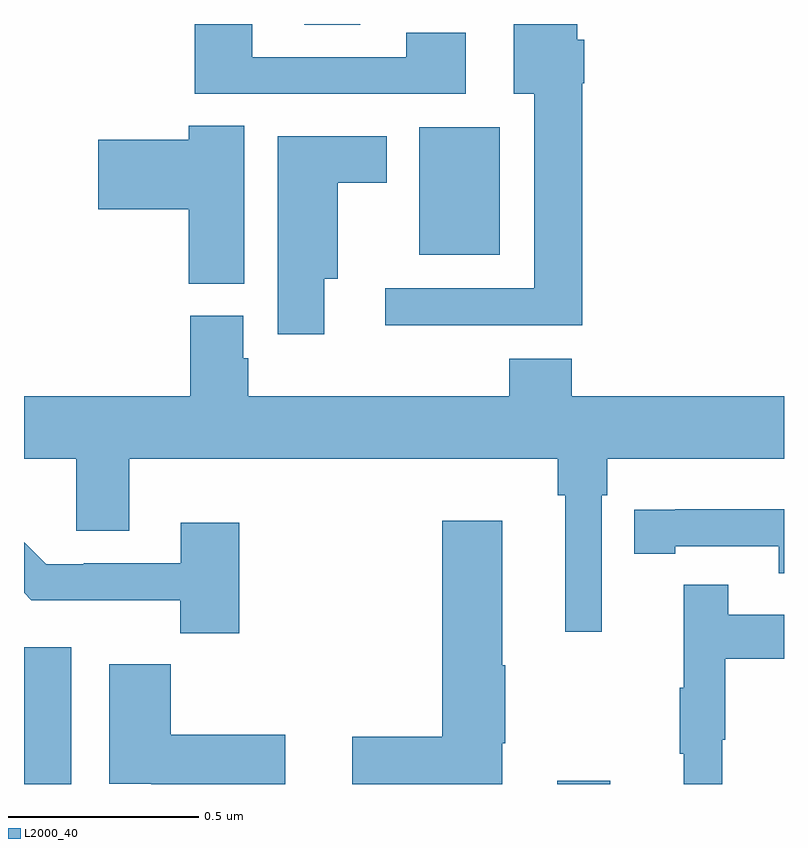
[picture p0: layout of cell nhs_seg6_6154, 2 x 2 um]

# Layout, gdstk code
import gdstk
lib = gdstk.Library(unit=1e-6, precision=1e-09)
def R(c, l, rs):  # rectangles x0, y0, x1, y1
    for r in rs: c.add(gdstk.rectangle(r[:2], r[2:], *l))
def P(c, l, *ps):  # polygons
    for p in ps: c.add(gdstk.Polygon(p, *l))
L2000_40 = (2000, 40)

nhs_seg6_6154 = lib.new_cell('nhs_seg6_6154')
R(nhs_seg6_6154, L2000_40, [(192,926.5,192.124,926.86), (193.403,926.5,193.543,926.509), (193.04,927.893,193.252,928.228), (192.737,928.498,192.885,928.5)])
P(nhs_seg6_6154, L2000_40, [(193.162,928.477),(193.006,928.477),(193.006,928.413),(192.601,928.413),(192.601,928.5),(192.449,928.5),(192.449,928.317),(193.162,928.317)],
  [(193.469,928.344),(193.474,928.344),(193.474,928.458),(193.456,928.458),(193.456,928.5),(193.289,928.5),(193.289,928.316),(193.343,928.316),(193.343,927.804),(192.951,927.804),(192.951,927.707),(193.469,927.707)],
  [(192.58,928.232),(192.434,928.232),(192.434,928.196),(192.195,928.196),(192.195,928.013),(192.434,928.013),(192.434,927.817),(192.58,927.817)],
  [(192.79,927.83),(192.826,927.83),(192.826,928.082),(192.955,928.082),(192.955,928.204),(192.668,928.204),(192.668,927.684),(192.79,927.684)],
  [(193.521,927.26),(193.535,927.26),(193.535,927.356),(194,927.356),(194,927.52),(193.442,927.52),(193.442,927.619),(193.277,927.619),(193.277,927.52),(192.59,927.52),(192.59,927.621),(192.577,927.621),(192.577,927.732),(192.437,927.732),(192.437,927.52),(192,927.52),(192,927.356),(192.137,927.356),(192.137,927.166),(192.277,927.166),(192.277,927.356),(193.405,927.356),(193.405,927.26),(193.424,927.26),(193.424,926.901),(193.521,926.901)],
  [(194,927.223),(193.714,927.223),(193.714,927.222),(193.606,927.222),(193.606,927.106),(193.714,927.106),(193.714,927.126),(193.986,927.126),(193.986,927.054),(194,927.054)],
  [(193.258,926.607),(193.266,926.607),(193.266,926.813),(193.258,926.813),(193.258,927.193),(193.1,927.193),(193.1,926.624),(192.864,926.624),(192.864,926.5),(193.258,926.5)],
  [(192.566,927.187),(192.413,927.187),(192.413,927.081),(192.157,927.081),(192.157,927.078),(192.058,927.078),(192,927.136),(192,927.003),(192.019,926.984),(192.411,926.984),(192.411,926.897),(192.566,926.897)],
  [(193.838,926.616),(193.846,926.616),(193.846,926.83),(194,926.83),(194,926.946),(193.853,926.946),(193.853,927.025),(193.736,927.025),(193.736,926.753),(193.725,926.753),(193.725,926.579),(193.736,926.579),(193.736,926.5),(193.838,926.5)],
  [(192.688,926.629),(192.386,926.629),(192.386,926.815),(192.224,926.815),(192.224,926.501),(192.335,926.501),(192.335,926.5),(192.688,926.5)])

lib.write_gds('nhs_seg6_6154.gds')
